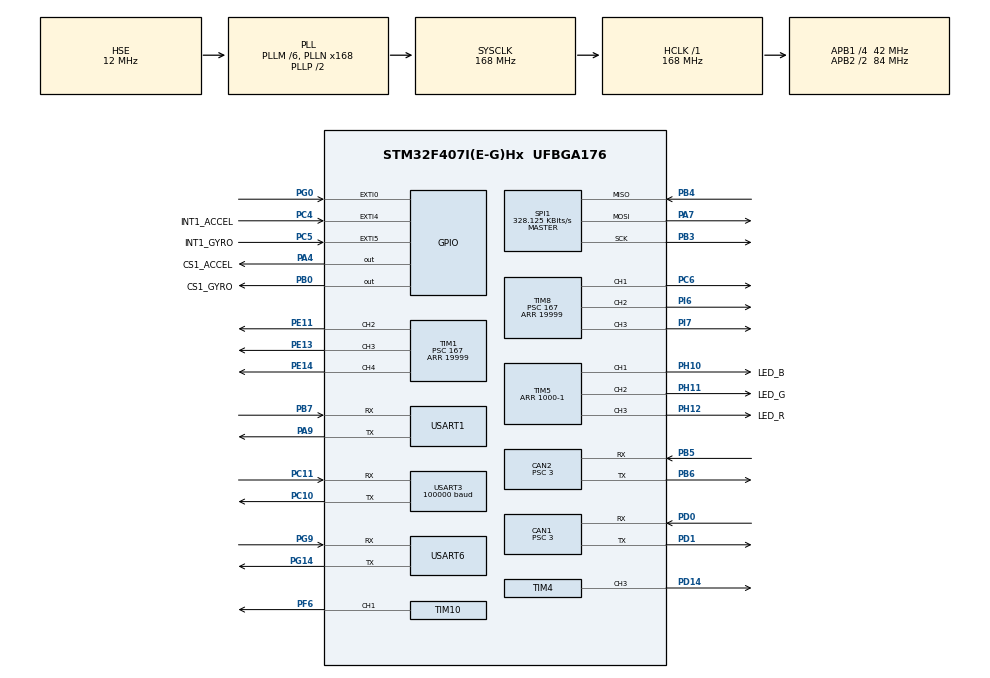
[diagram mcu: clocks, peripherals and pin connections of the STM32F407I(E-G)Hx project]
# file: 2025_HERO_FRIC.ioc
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CAN1.BS1=CAN_BS1_10TQ
CAN1.BS2=CAN_BS2_3TQ
CAN1.CalculateBaudRate=1000000
CAN1.CalculateTimeBit=1000
CAN1.CalculateTimeQuantum=71.42857142857143
CAN1.NART=DISABLE
CAN1.Prescaler=3
CAN1.TXFP=DISABLE
CAN2.BS1=CAN_BS1_10TQ
CAN2.BS2=CAN_BS2_3TQ
CAN2.CalculateBaudRate=1000000
CAN2.CalculateTimeBit=1000
CAN2.CalculateTimeQuantum=71.42857142857143
CAN2.NART=ENABLE
CAN2.Prescaler=3
Dma.Request0=SPI1_RX
Dma.Request1=SPI1_TX
Dma.Request2=USART3_RX
Dma.Request3=USART6_RX
Dma.Request4=USART6_TX
Dma.SPI1_RX.0.Direction=DMA_PERIPH_TO_MEMORY
Dma.SPI1_RX.0.FIFOMode=DMA_FIFOMODE_DISABLE
Dma.SPI1_RX.0.Instance=DMA2_Stream2
Dma.SPI1_RX.0.MemDataAlignment=DMA_MDATAALIGN_BYTE
Dma.SPI1_RX.0.MemInc=DMA_MINC_ENABLE
Dma.SPI1_RX.0.Mode=DMA_NORMAL
Dma.SPI1_RX.0.PeriphDataAlignment=DMA_PDATAALIGN_BYTE
Dma.SPI1_RX.0.PeriphInc=DMA_PINC_DISABLE
Dma.SPI1_RX.0.Priority=DMA_PRIORITY_VERY_HIGH
Dma.SPI1_TX.1.Direction=DMA_MEMORY_TO_PERIPH
Dma.SPI1_TX.1.FIFOMode=DMA_FIFOMODE_DISABLE
Dma.SPI1_TX.1.Instance=DMA2_Stream3
Dma.SPI1_TX.1.MemDataAlignment=DMA_MDATAALIGN_BYTE
Dma.SPI1_TX.1.MemInc=DMA_MINC_ENABLE
Dma.SPI1_TX.1.Mode=DMA_NORMAL
Dma.SPI1_TX.1.PeriphDataAlignment=DMA_PDATAALIGN_BYTE
Dma.SPI1_TX.1.PeriphInc=DMA_PINC_DISABLE
Dma.SPI1_TX.1.Priority=DMA_PRIORITY_HIGH
Dma.USART3_RX.2.Direction=DMA_PERIPH_TO_MEMORY
Dma.USART3_RX.2.FIFOMode=DMA_FIFOMODE_DISABLE
Dma.USART3_RX.2.Instance=DMA1_Stream1
Dma.USART3_RX.2.MemDataAlignment=DMA_MDATAALIGN_BYTE
Dma.USART3_RX.2.MemInc=DMA_MINC_ENABLE
Dma.USART3_RX.2.Mode=DMA_CIRCULAR
Dma.USART3_RX.2.PeriphDataAlignment=DMA_PDATAALIGN_BYTE
Dma.USART3_RX.2.PeriphInc=DMA_PINC_DISABLE
Dma.USART3_RX.2.Priority=DMA_PRIORITY_HIGH
Dma.USART6_RX.3.Direction=DMA_PERIPH_TO_MEMORY
Dma.USART6_RX.3.FIFOMode=DMA_FIFOMODE_DISABLE
Dma.USART6_RX.3.Instance=DMA2_Stream1
Dma.USART6_RX.3.MemDataAlignment=DMA_MDATAALIGN_BYTE
Dma.USART6_RX.3.MemInc=DMA_MINC_ENABLE
Dma.USART6_RX.3.Mode=DMA_NORMAL
Dma.USART6_RX.3.PeriphDataAlignment=DMA_PDATAALIGN_BYTE
Dma.USART6_RX.3.PeriphInc=DMA_PINC_DISABLE
Dma.USART6_RX.3.Priority=DMA_PRIORITY_HIGH
Dma.USART6_TX.4.Direction=DMA_MEMORY_TO_PERIPH
Dma.USART6_TX.4.FIFOMode=DMA_FIFOMODE_DISABLE
Dma.USART6_TX.4.Instance=DMA2_Stream6
Dma.USART6_TX.4.MemDataAlignment=DMA_MDATAALIGN_BYTE
Dma.USART6_TX.4.MemInc=DMA_MINC_ENABLE
Dma.USART6_TX.4.Mode=DMA_NORMAL
Dma.USART6_TX.4.PeriphDataAlignment=DMA_PDATAALIGN_BYTE
Dma.USART6_TX.4.PeriphInc=DMA_PINC_DISABLE
Dma.USART6_TX.4.Priority=DMA_PRIORITY_MEDIUM
FREERTOS.INCLUDE_eTaskGetState=1
FREERTOS.INCLUDE_pcTaskGetTaskName=1
FREERTOS.INCLUDE_uxTaskGetStackHighWaterMark=1
FREERTOS.INCLUDE_uxTaskGetStackHighWaterMark2=1
FREERTOS.INCLUDE_vTaskCleanUpResources=1
FREERTOS.INCLUDE_xQueueGetMutexHolder=1
FREERTOS.INCLUDE_xSemaphoreGetMutexHolder=1
FREERTOS.INCLUDE_xTaskAbortDelay=1
FREERTOS.INCLUDE_xTaskGetCurrentTaskHandle=1
FREERTOS.INCLUDE_xTaskGetHandle=1
FREERTOS.Tasks01=defaultTask,0,128,StartDefaultTask,Default,NULL,Dynamic,NULL,NULL;led_task,-2,128,LED_Task,As weak,NULL,Dynamic,NULL,NULL;buzzer_task,-2,128,Buzzer_Task,As weak,NULL,Dynamic,NULL,NULL;chassis_task,2,512,Chassis_Task,As weak,NULL,Dynamic,NULL,NULL;supercap_task,1,128,SuperCap_Task,As weak,NULL,Dynamic,NULL,NULL;referee_task,2,512,Referee_Task,As weak,NULL,Dynamic,NULL,NULL;ins_task,2,1024,Ins_Task,As weak,NULL,Dynamic,NULL,NULL;calibrate_task,0,128,Calibrate_Task,As weak,NULL,Dynamic,NULL,NULL;detect_task,2,128,Detect_Task,As weak,NULL,Dynamic,NULL,NULL;gimbal_task,2,1024,Gimbal_Task,As weak,NULL,Dynamic,NULL,NULL;telescope_task,1,128,Telescope_Task,As weak,NULL,Dynamic,NULL,NULL
FREERTOS.configTOTAL_HEAP_SIZE=20660
Mcu.Family=STM32F4
Mcu.Name=STM32F407I(E-G)Hx
Mcu.Package=UFBGA176
NVIC.CAN1_RX0_IRQn=true\:5\:0\:false\:false\:true\:true\:true\:true\:true
NVIC.CAN2_RX0_IRQn=true\:5\:0\:false\:false\:true\:true\:true\:true\:true
NVIC.DMA1_Stream1_IRQn=true\:5\:0\:false\:false\:true\:true\:false\:true\:true
NVIC.DMA2_Stream1_IRQn=true\:5\:0\:false\:false\:true\:true\:false\:true\:true
NVIC.DMA2_Stream2_IRQn=true\:5\:0\:true\:false\:false\:false\:false\:true\:true
NVIC.DMA2_Stream3_IRQn=true\:5\:0\:false\:false\:true\:true\:false\:true\:true
NVIC.DMA2_Stream6_IRQn=true\:5\:0\:false\:false\:true\:true\:false\:true\:true
NVIC.EXTI0_IRQn=true\:5\:0\:false\:false\:true\:true\:true\:true\:true
NVIC.EXTI4_IRQn=true\:5\:0\:false\:false\:true\:true\:true\:true\:true
NVIC.EXTI9_5_IRQn=true\:5\:0\:false\:false\:true\:true\:true\:true\:true
NVIC.PriorityGroup=NVIC_PRIORITYGROUP_4
NVIC.TIM3_IRQn=true\:15\:0\:false\:false\:true\:false\:false\:true\:true
NVIC.TimeBase=TIM3_IRQn
NVIC.TimeBaseIP=TIM3
NVIC.USART1_IRQn=true\:5\:0\:false\:false\:true\:true\:true\:true\:true
NVIC.USART3_IRQn=true\:5\:0\:false\:false\:false\:true\:true\:true\:true
NVIC.USART6_IRQn=true\:5\:0\:false\:false\:false\:true\:true\:true\:true
PA13.Mode=Serial_Wire
PA13.Signal=SYS_JTMS-SWDIO
PA14.Mode=Serial_Wire
PA14.Signal=SYS_JTCK-SWCLK
PA4.GPIO_Label=CS1_ACCEL
PA4.GPIO_PuPd=GPIO_PULLUP
PA4.GPIO_Speed=GPIO_SPEED_FREQ_HIGH
PA4.PinState=GPIO_PIN_SET
PA4.Signal=GPIO_Output
PA7.GPIO_PuPd=GPIO_PULLUP
PA7.Mode=Full_Duplex_Master
PA7.Signal=SPI1_MOSI
PA9.Mode=Asynchronous
PA9.Signal=USART1_TX
PB0.GPIO_Label=CS1_GYRO
PB0.GPIO_PuPd=GPIO_PULLUP
PB0.GPIO_Speed=GPIO_SPEED_FREQ_HIGH
PB0.PinState=GPIO_PIN_SET
PB0.Signal=GPIO_Output
PB3.GPIO_PuPd=GPIO_PULLUP
PB3.Mode=Full_Duplex_Master
PB3.Signal=SPI1_SCK
PB4.GPIO_PuPd=GPIO_PULLUP
PB4.Mode=Full_Duplex_Master
PB4.Signal=SPI1_MISO
PB5.Mode=CAN_Activate
PB5.Signal=CAN2_RX
PB6.Mode=CAN_Activate
PB6.Signal=CAN2_TX
PB7.Mode=Asynchronous
PB7.Signal=USART1_RX
PC10.Mode=Asynchronous
PC10.Signal=USART3_TX
PC11.Mode=Asynchronous
PC11.Signal=USART3_RX
PC4.GPIO_Label=INT1_ACCEL
PC4.GPIO_PuPd=GPIO_PULLUP
PC4.Signal=GPXTI4
PC5.GPIO_Label=INT1_GYRO
PC5.GPIO_PuPd=GPIO_PULLUP
PC5.Signal=GPXTI5
PC6.Signal=S_TIM8_CH1
PD0.Mode=CAN_Activate
PD0.Signal=CAN1_RX
PD1.Mode=CAN_Activate
PD1.Signal=CAN1_TX
PD14.Signal=S_TIM4_CH3
PE11.Signal=S_TIM1_CH2
PE13.Signal=S_TIM1_CH3
PE14.Signal=S_TIM1_CH4
PF6.GPIO_PuPd=GPIO_PULLUP
PF6.GPIO_Speed=GPIO_SPEED_FREQ_HIGH
PF6.Signal=S_TIM10_CH1
PG0.Signal=GPXTI0
PG14.Mode=Asynchronous
PG14.Signal=USART6_TX
PG9.Mode=Asynchronous
PG9.Signal=USART6_RX
PH0-OSC_IN.Mode=HSE-External-Oscillator
PH0-OSC_IN.Signal=RCC_OSC_IN
PH1-OSC_OUT.Mode=HSE-External-Oscillator
PH1-OSC_OUT.Signal=RCC_OSC_OUT
PH10.GPIO_Label=LED_B
PH10.GPIO_PuPd=GPIO_PULLUP
PH10.Signal=S_TIM5_CH1
PH11.GPIO_Label=LED_G
PH11.GPIO_PuPd=GPIO_PULLUP
PH11.Signal=S_TIM5_CH2
PH12.GPIO_Label=LED_R
PH12.GPIO_PuPd=GPIO_PULLUP
PH12.Signal=S_TIM5_CH3
PI6.Signal=S_TIM8_CH2
PI7.Signal=S_TIM8_CH3
ProjectManager.HeapSize=0x200
ProjectManager.StackSize=0x400
ProjectManager.TargetToolchain=MDK-ARM V5.32
RCC.48MHZClocksFreq_Value=84000000
RCC.AHBFreq_Value=168000000
RCC.APB1CLKDivider=RCC_HCLK_DIV4
RCC.APB1Freq_Value=42000000
RCC.APB1TimFreq_Value=84000000
RCC.APB2CLKDivider=RCC_HCLK_DIV2
RCC.APB2Freq_Value=84000000
RCC.APB2TimFreq_Value=168000000
RCC.CortexFreq_Value=168000000
RCC.HCLKFreq_Value=168000000
RCC.HSE_VALUE=12000000
RCC.HSI_VALUE=16000000
RCC.LSE_VALUE=32768
RCC.PLLM=6
RCC.PLLN=168
RCC.PLLSourceVirtual=RCC_PLLSOURCE_HSE
RCC.SYSCLKFreq_VALUE=168000000
RCC.SYSCLKSource=RCC_SYSCLKSOURCE_PLLCLK
RCC.VCOOutputFreq_Value=336000000
SH.S_TIM10_CH1.0=TIM10_CH1,PWM Generation1 CH1
SH.S_TIM1_CH2.0=TIM1_CH2,PWM Generation2 CH2
SH.S_TIM1_CH3.0=TIM1_CH3,PWM Generation3 CH3
SH.S_TIM1_CH4.0=TIM1_CH4,PWM Generation4 CH4
SH.S_TIM4_CH3.0=TIM4_CH3,PWM Generation3 CH3
SH.S_TIM5_CH1.0=TIM5_CH1,PWM Generation1 CH1
SH.S_TIM5_CH2.0=TIM5_CH2,PWM Generation2 CH2
SH.S_TIM5_CH3.0=TIM5_CH3,PWM Generation3 CH3
SH.S_TIM8_CH1.0=TIM8_CH1,PWM Generation1 CH1
SH.S_TIM8_CH2.0=TIM8_CH2,PWM Generation2 CH2
SH.S_TIM8_CH3.0=TIM8_CH3,PWM Generation3 CH3
SPI1.BaudRatePrescaler=SPI_BAUDRATEPRESCALER_256
SPI1.CLKPhase=SPI_PHASE_2EDGE
SPI1.CLKPolarity=SPI_POLARITY_HIGH
SPI1.CalculateBaudRate=328.125 KBits/s
SPI1.Direction=SPI_DIRECTION_2LINES
SPI1.Mode=SPI_MODE_MASTER
SPI1.VirtualType=VM_MASTER
TIM1.Channel-PWM\ Generation2\ CH2=TIM_CHANNEL_2
TIM1.Channel-PWM\ Generation3\ CH3=TIM_CHANNEL_3
TIM1.Channel-PWM\ Generation4\ CH4=TIM_CHANNEL_4
TIM1.Period=19999
TIM1.Prescaler=167
TIM1.Pulse-PWM\ Generation2\ CH2=2000
TIM1.Pulse-PWM\ Generation3\ CH3=2000
TIM1.Pulse-PWM\ Generation4\ CH4=2000
TIM10.Channel=TIM_CHANNEL_1
TIM10.Period=5000-1
TIM4.Channel-PWM\ Generation3\ CH3=TIM_CHANNEL_3
TIM4.Prescaler=168-1
TIM5.Channel-PWM\ Generation1\ CH1=TIM_CHANNEL_1
TIM5.Channel-PWM\ Generation2\ CH2=TIM_CHANNEL_2
TIM5.Channel-PWM\ Generation3\ CH3=TIM_CHANNEL_3
TIM5.Period=1000-1
TIM8.Channel-PWM\ Generation1\ CH1=TIM_CHANNEL_1
TIM8.Channel-PWM\ Generation2\ CH2=TIM_CHANNEL_2
TIM8.Channel-PWM\ Generation3\ CH3=TIM_CHANNEL_3
TIM8.OC1Preload_PWM=ENABLE
TIM8.OC2Preload_PWM=ENABLE
TIM8.OC3Preload_PWM=ENABLE
TIM8.Period=19999
TIM8.Prescaler=167
TIM8.Pulse-PWM\ Generation1\ CH1=500
TIM8.Pulse-PWM\ Generation2\ CH2=2260
TIM8.Pulse-PWM\ Generation3\ CH3=500
USART1.VirtualMode=VM_ASYNC
USART3.BaudRate=100000
USART3.Parity=PARITY_EVEN
USART3.VirtualMode=VM_ASYNC
USART6.VirtualMode=VM_ASYNC
VP_FREERTOS_VS_CMSIS_V1.Mode=CMSIS_V1
VP_SYS_VS_tim3.Mode=TIM3
VP_TIM10_VS_ClockSourceINT.Mode=Enable_Timer
VP_TIM5_VS_ClockSourceINT.Mode=Internal
board=custom

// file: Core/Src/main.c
/* USER CODE BEGIN Header */
/**
  ******************************************************************************
  * @file           : main.c
  * @brief          : Main program body
  ******************************************************************************
  * @attention
  *
  * Copyright (c) 2024 STMicroelectronics.
  * All rights reserved.
  *
  * This software is licensed under terms that can be found in the LICENSE file
  * in the root directory of this software component.
  * If no LICENSE file comes with this software, it is provided AS-IS.
  *
  ******************************************************************************
  */
/* USER CODE END Header */
#include "main.h"
#include "cmsis_os.h"
#include "can.h"
#include "dma.h"
#include "spi.h"
#include "tim.h"
#include "usart.h"
#include "gpio.h"

/* USER CODE BEGIN Includes */
#include "bsp_usart.h"
#include "remote_control.h"
void can_filter_init(void);
/* USER CODE END Includes */

void SystemClock_Config(void);
void MX_FREERTOS_Init(void);

int main(void)
{

  /* MCU Configuration--------------------------------------------------------*/

  /* Reset of all peripherals, Initializes the Flash interface and the Systick. */
  HAL_Init();

  /* Configure the system clock */
  SystemClock_Config();

  /* USER CODE BEGIN SysInit */
  HAL_Delay(700);
  /* USER CODE END SysInit */

  /* Initialize all configured peripherals */
  MX_GPIO_Init();
  MX_DMA_Init();
  MX_CAN1_Init();
  MX_CAN2_Init();
  MX_SPI1_Init();
  MX_USART1_UART_Init();
  MX_USART3_UART_Init();
  MX_USART6_UART_Init();
  MX_TIM5_Init();
  MX_TIM4_Init();
  MX_TIM10_Init();
  MX_TIM1_Init();
  MX_TIM8_Init();
  /* USER CODE BEGIN 2 */
	HAL_TIM_PWM_Start(&htim4,TIM_CHANNEL_3);
  HAL_TIM_PWM_Start(&htim5,TIM_CHANNEL_1);
  HAL_TIM_PWM_Start(&htim5,TIM_CHANNEL_2);
  HAL_TIM_PWM_Start(&htim5,TIM_CHANNEL_3);
	HAL_TIM_PWM_Start(&htim10,TIM_CHANNEL_1);
  can_filter_init();
	remote_control_init();
  /*舵机PWM*/
  HAL_TIM_Base_Start(&htim8);
  HAL_TIM_PWM_Start(&htim8, TIM_CHANNEL_1);
  HAL_TIM_PWM_Start(&htim8, TIM_CHANNEL_2);
  HAL_TIM_PWM_Start(&htim8, TIM_CHANNEL_3);
  HAL_TIM_Base_Start(&htim1);
  HAL_TIM_PWM_Start(&htim1, TIM_CHANNEL_2);
  HAL_TIM_PWM_Start(&htim1, TIM_CHANNEL_3);
  HAL_TIM_PWM_Start(&htim1, TIM_CHANNEL_4);
  /* USER CODE END 2 */

  /* Call init function for freertos objects (in cmsis_os2.c) */
  MX_FREERTOS_Init();

  /* Start scheduler */
  osKernelStart();

  /* We should never get here as control is now taken by the scheduler */

  /* Infinite loop */
  while (1)
  {

  }
}

void SystemClock_Config(void)
{
  RCC_OscInitTypeDef RCC_OscInitStruct = {0};
  RCC_ClkInitTypeDef RCC_ClkInitStruct = {0};

  /** Configure the main internal regulator output voltage
  */
  __HAL_RCC_PWR_CLK_ENABLE();
  __HAL_PWR_VOLTAGESCALING_CONFIG(PWR_REGULATOR_VOLTAGE_SCALE1);

  /** Initializes the RCC Oscillators according to the specified parameters
  * in the RCC_OscInitTypeDef structure.
  */
  RCC_OscInitStruct.OscillatorType = RCC_OSCILLATORTYPE_HSE;
  RCC_OscInitStruct.HSEState = RCC_HSE_ON;
  RCC_OscInitStruct.PLL.PLLState = RCC_PLL_ON;
  RCC_OscInitStruct.PLL.PLLSource = RCC_PLLSOURCE_HSE;
  RCC_OscInitStruct.PLL.PLLM = 6;
  RCC_OscInitStruct.PLL.PLLN = 168;
  RCC_OscInitStruct.PLL.PLLP = RCC_PLLP_DIV2;
  RCC_OscInitStruct.PLL.PLLQ = 4;
  if (HAL_RCC_OscConfig(&RCC_OscInitStruct) != HAL_OK)
  {
    Error_Handler();
  }

  /** Initializes the CPU, AHB and APB buses clocks
  */
  RCC_ClkInitStruct.ClockType = RCC_CLOCKTYPE_HCLK|RCC_CLOCKTYPE_SYSCLK
                              |RCC_CLOCKTYPE_PCLK1|RCC_CLOCKTYPE_PCLK2;
  RCC_ClkInitStruct.SYSCLKSource = RCC_SYSCLKSOURCE_PLLCLK;
  RCC_ClkInitStruct.AHBCLKDivider = RCC_SYSCLK_DIV1;
  RCC_ClkInitStruct.APB1CLKDivider = RCC_HCLK_DIV4;
  RCC_ClkInitStruct.APB2CLKDivider = RCC_HCLK_DIV2;

  if (HAL_RCC_ClockConfig(&RCC_ClkInitStruct, FLASH_LATENCY_5) != HAL_OK)
  {
    Error_Handler();
  }
}

void HAL_TIM_PeriodElapsedCallback(TIM_HandleTypeDef *htim)
{
  if (htim->Instance == TIM3) {
    HAL_IncTick();
  }
}

void Error_Handler(void)
{
  __disable_irq();
  while (1)
  {
  }
}

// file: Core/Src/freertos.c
/* USER CODE BEGIN Header */
/**
  ******************************************************************************
  * File Name          : freertos.c
  * Description        : Code for freertos applications
  ******************************************************************************
  * @attention
  *
  * Copyright (c) 2024 STMicroelectronics.
  * All rights reserved.
  *
  * This software is licensed under terms that can be found in the LICENSE file
  * in the root directory of this software component.
  * If no LICENSE file comes with this software, it is provided AS-IS.
  *
  ******************************************************************************
  */
/* USER CODE END Header */

#include "FreeRTOS.h"
#include "task.h"
#include "main.h"
#include "cmsis_os.h"

osThreadId defaultTaskHandle;
osThreadId led_taskHandle;
osThreadId buzzer_taskHandle;
osThreadId chassis_taskHandle;
osThreadId supercap_taskHandle;
osThreadId referee_taskHandle;
osThreadId ins_taskHandle;
osThreadId calibrate_taskHandle;
osThreadId detect_taskHandle;
osThreadId gimbal_taskHandle;
osThreadId telescope_taskHandle;

void StartDefaultTask(void const * argument);
void LED_Task(void const * argument);
void Buzzer_Task(void const * argument);
void Chassis_Task(void const * argument);
void SuperCap_Task(void const * argument);
void Referee_Task(void const * argument);
void Ins_Task(void const * argument);
void Calibrate_Task(void const * argument);
void Detect_Task(void const * argument);
void Gimbal_Task(void const * argument);
void Telescope_Task(void const * argument);

void MX_FREERTOS_Init(void); /* (MISRA C 2004 rule 8.1) */

/* GetIdleTaskMemory prototype (linked to static allocation support) */
void vApplicationGetIdleTaskMemory( StaticTask_t **ppxIdleTaskTCBBuffer, StackType_t **ppxIdleTaskStackBuffer, uint32_t *pulIdleTaskStackSize );

/* USER CODE BEGIN GET_IDLE_TASK_MEMORY */
static StaticTask_t xIdleTaskTCBBuffer;
static StackType_t xIdleStack[configMINIMAL_STACK_SIZE];

void vApplicationGetIdleTaskMemory( StaticTask_t **ppxIdleTaskTCBBuffer, StackType_t **ppxIdleTaskStackBuffer, uint32_t *pulIdleTaskStackSize )
{
  *ppxIdleTaskTCBBuffer = &xIdleTaskTCBBuffer;
  *ppxIdleTaskStackBuffer = &xIdleStack[0];
  *pulIdleTaskStackSize = configMINIMAL_STACK_SIZE;
  /* place for user code */
}
/* USER CODE END GET_IDLE_TASK_MEMORY */

void MX_FREERTOS_Init(void) {

  /* Create the thread(s) */
  /* definition and creation of defaultTask */
  osThreadDef(defaultTask, StartDefaultTask, osPriorityNormal, 0, 128);
  defaultTaskHandle = osThreadCreate(osThread(defaultTask), NULL);

  /* definition and creation of led_task */
  osThreadDef(led_task, LED_Task, osPriorityLow, 0, 128);
  led_taskHandle = osThreadCreate(osThread(led_task), NULL);

  /* definition and creation of buzzer_task */
  osThreadDef(buzzer_task, Buzzer_Task, osPriorityLow, 0, 128);
  buzzer_taskHandle = osThreadCreate(osThread(buzzer_task), NULL);

  /* definition and creation of chassis_task */
  osThreadDef(chassis_task, Chassis_Task, osPriorityHigh, 0, 512);
  chassis_taskHandle = osThreadCreate(osThread(chassis_task), NULL);

  /* definition and creation of supercap_task */
  // osThreadDef(supercap_task, SuperCap_Task, osPriorityAboveNormal, 0, 128);
  // supercap_taskHandle = osThreadCreate(osThread(supercap_task), NULL);

  /* definition and creation of referee_task */
  // osThreadDef(referee_task, Referee_Task, osPriorityHigh, 0, 512);
  // referee_taskHandle = osThreadCreate(osThread(referee_task), NULL);

  /* definition and creation of ins_task */
  // osThreadDef(ins_task, Ins_Task, osPriorityHigh, 0, 1024);
  // ins_taskHandle = osThreadCreate(osThread(ins_task), NULL);

  /* definition and creation of calibrate_task */
  // osThreadDef(calibrate_task, Calibrate_Task, osPriorityNormal, 0, 128);
  // calibrate_taskHandle = osThreadCreate(osThread(calibrate_task), NULL);

  /* definition and creation of detect_task */
  // osThreadDef(detect_task, Detect_Task, osPriorityHigh, 0, 128);
  // detect_taskHandle = osThreadCreate(osThread(detect_task), NULL);

  /* definition and creation of gimbal_task */
  osThreadDef(gimbal_task, Gimbal_Task, osPriorityHigh, 0, 1024);
  gimbal_taskHandle = osThreadCreate(osThread(gimbal_task), NULL);

  /* definition and creation of telescope_task */
  // osThreadDef(telescope_task, Telescope_Task, osPriorityAboveNormal, 0, 128);
  // telescope_taskHandle = osThreadCreate(osThread(telescope_task), NULL);

}

void StartDefaultTask(void const * argument)
{
  for(;;)
  {
    osDelay(1);
  }
}

__weak void LED_Task(void const * argument)
{
  for(;;)
  {
    osDelay(1);
  }
}

__weak void Buzzer_Task(void const * argument)
{
  for(;;)
  {
    osDelay(1);
  }
}

__weak void Chassis_Task(void const * argument)
{
  for(;;)
  {
    osDelay(1);
  }
}

__weak void SuperCap_Task(void const * argument)
{
  for(;;)
  {
    osDelay(1);
  }
}

__weak void Referee_Task(void const * argument)
{
  for(;;)
  {
    osDelay(1);
  }
}

__weak void Ins_Task(void const * argument)
{
  for(;;)
  {
    osDelay(1);
  }
}

__weak void Calibrate_Task(void const * argument)
{
  for(;;)
  {
    osDelay(1);
  }
}

__weak void Detect_Task(void const * argument)
{
  for(;;)
  {
    osDelay(1);
  }
}

__weak void Gimbal_Task(void const * argument)
{
  for(;;)
  {
    osDelay(1);
  }
}

__weak void Telescope_Task(void const * argument)
{
  for(;;)
  {
    osDelay(1);
  }
}
